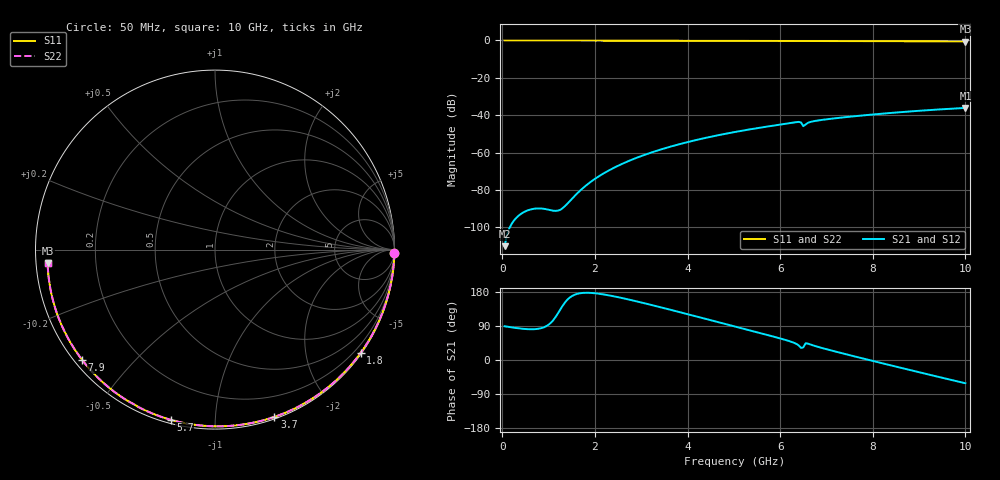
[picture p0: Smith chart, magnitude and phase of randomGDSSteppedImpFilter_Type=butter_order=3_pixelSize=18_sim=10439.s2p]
! freq	dB(S11)	phase(S11)	dB(S12)	phase(S12)
!  dB(S21)	phase(S21)	dB(S22)	phase(S22)
!S-par simulation data
#  GHz  S  DB  R 50
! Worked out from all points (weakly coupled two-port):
!   200 points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, 50 MHz to 10 GHz, reference 50 ohm
!   highest |S21| = -36.07 dB at 10 GHz (marker M1); lowest = -110.0 dB at 50 MHz (marker M2)
!   lowest |S11| = -0.6 dB at 10 GHz (marker M3), VSWR 29.99, Z = 1.67 - j1.99 ohm
!   |S11| at or under -10 dB: nowhere
!   |S22| runs from -0.6 to 0.0 dB; largest |S21 - S12| = 0
!   S11 on the Smith chart (normalised r, x): 50 MHz: open; 1.8 GHz: 0.03, -3.14; 3.7 GHz: 0.02, -1.42; 5.7 GHz: 0.02, -0.77; 7.9 GHz: 0.02, -0.36; 10 GHz: 0.03, -0.04
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0.05  -0.00 -1.0  -110.00 89.0  -110.00 89.0  -0.00 -1.0
0.85  -0.02 -16.9  -89.88 84.3  -89.88 84.3  -0.02 -16.9
1.65  -0.04 -32.5  -80.98 175.4  -80.98 175.4  -0.04 -32.5
1.7  -0.04 -33.4  -79.84 176.5  -79.84 176.5  -0.04 -33.4
1.75  -0.04 -34.4  -78.74 177.1  -78.74 177.1  -0.04 -34.4
1.8  -0.04 -35.3  -77.71 177.4  -77.71 177.4  -0.04 -35.3
2.1  -0.05 -41.1  -72.40 174.7  -72.40 174.7  -0.05 -41.1
2.45  -0.06 -47.7  -67.60 167.1  -67.60 167.1  -0.06 -47.7
2.9  -0.07 -56.0  -62.75 154.7  -62.75 154.7  -0.07 -56.0
3.4  -0.09 -65.1  -58.47 139.7  -58.47 139.7  -0.09 -65.1
3.7  -0.10 -70.5  -56.30 130.4  -56.30 130.4  -0.10 -70.5
5.05  -0.14 -93.8  -48.82 87.6  -48.82 87.6  -0.14 -93.8
5.7  -0.18 -104.6  -46.12 66.8  -46.12 66.8  -0.18 -104.6
6.4  -0.22 -116.1  -43.53 38.6  -43.53 38.6  -0.22 -116.1
6.45  -0.23 -117.0  -43.84 31.9  -43.84 31.9  -0.23 -116.9
6.5  -0.24 -117.7  -45.83 33.4  -45.83 33.4  -0.24 -117.7
6.6  -0.24 -119.3  -44.05 43.1  -44.05 43.1  -0.24 -119.3
6.7  -0.24 -120.9  -43.30 39.0  -43.30 39.0  -0.24 -120.9
7.9  -0.33 -140.2  -39.82 0.6  -39.82 0.6  -0.33 -140.2
8.35  -0.38 -147.5  -38.84 -13.0  -38.84 -13.0  -0.38 -147.5
9.2  -0.47 -161.6  -37.26 -38.2  -37.26 -38.2  -0.47 -161.6
10  -0.58 -175.4  -36.07 -61.4  -36.07 -61.4  -0.58 -175.4
